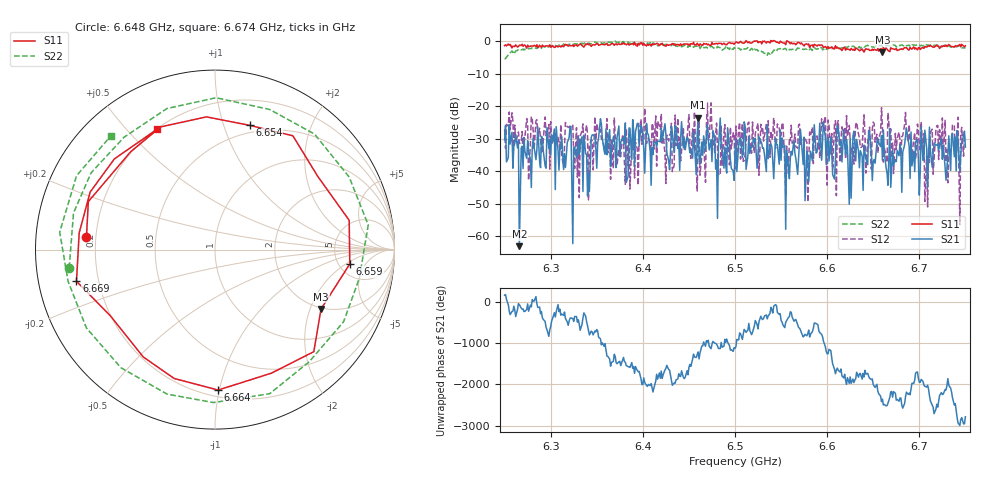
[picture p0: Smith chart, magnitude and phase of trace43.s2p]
# Hz S RI R 50
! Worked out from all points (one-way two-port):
!   401 points, 6.25 GHz to 6.75 GHz, reference 50 ohm
!   highest |S21| = -23.46 dB at 6.46 GHz (marker M1); lowest = -63.0 dB at 6.266 GHz (marker M2)
!   lowest |S11| = -3.4 dB at 6.66 GHz (marker M3), VSWR 5.20, Z = 97.5 - j119 ohm
!   |S11| at or under -10 dB: nowhere
!   |S22| runs from -5.5 to 0.0 dB; largest |S21 - S12| = 0.16
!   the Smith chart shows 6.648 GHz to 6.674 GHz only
!   S11 on the Smith chart (normalised r, x): 6.648 GHz: 0.16, +0.05; 6.654 GHz: 0.43, +1.22; 6.659 GHz: 6.28, -2.34; 6.664 GHz: 0.25, -0.99; 6.669 GHz: 0.12, -0.11; 6.674 GHz: 0.20, +0.61
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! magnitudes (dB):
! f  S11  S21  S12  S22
! 6.25 GHz  -1.4  -30.3  -27.1  -5.5
! 6.266 GHz  -1.3  -63.0  -31.4  -2.5
! 6.334 GHz  -1.4  -29.4  -27.7  -0.6
! 6.418 GHz  -1.3  -30.8  -26.1  -1.3
! 6.46 GHz  -1.1  -23.5  -28.6  -1.6
! 6.471 GHz  -0.9  -30.3  -30.0  -1.7
! 6.484 GHz  -0.7  -23.6  -41.2  -2.0
! 6.5 GHz  -0.6  -34.7  -39.3  -2.3
! 6.558 GHz  -0.2  -38.4  -40.6  -2.3
! 6.584 GHz  -1.2  -36.8  -26.4  -2.9
! 6.648 GHz  -2.9  -34.5  -39.4  -1.7
! 6.654 GHz  -2.9  -31.3  -28.6  -1.5
! 6.659 GHz  -2.4  -29.0  -20.5  -1.3
! 6.66 GHz  -3.4  -36.6  -26.6  -1.7
! 6.664 GHz  -2.1  -38.9  -35.2  -1.3
! 6.668 GHz  -3.2  -26.8  -28.5  -1.5
! 6.669 GHz  -2.0  -44.9  -26.9  -1.5
! 6.674 GHz  -2.6  -36.5  -28.3  -1.3
! 6.7 GHz  -2.0  -47.3  -31.9  -1.2
! 6.709 GHz  -1.7  -45.0  -50.9  -1.3
! 6.72 GHz  -1.6  -31.6  -25.9  -1.4
! 6.75 GHz  -1.5  -32.6  -30.2  -2.2
